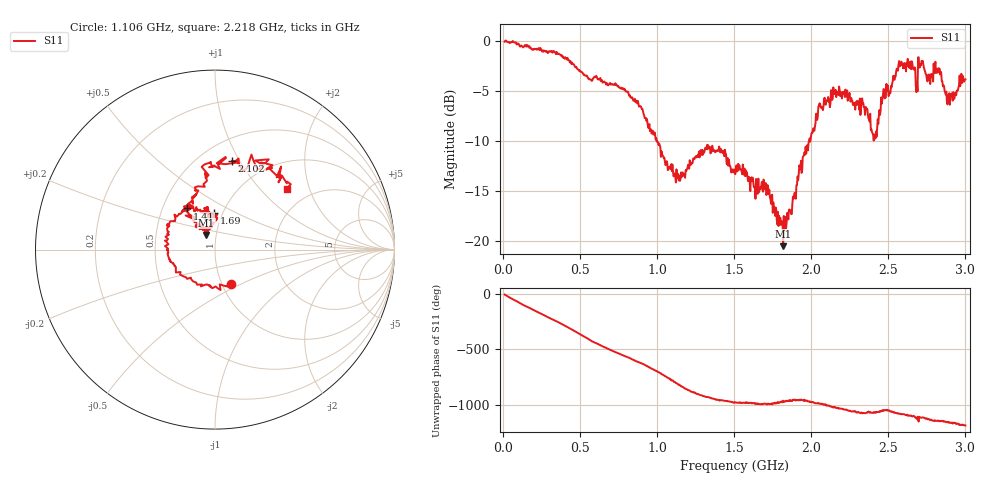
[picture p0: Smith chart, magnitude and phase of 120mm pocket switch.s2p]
! PocketVna 1.60  pocketvna.com
! Live measurements ((Reflection-S11) Linear 10000000-3000000000/800 calibrated)
# Hz S RI R 50
! Hz  ReS11  ImS11  ReS21  ImS21  ReS12  ImS12  ReS22  ImS22
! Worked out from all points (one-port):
!   800 points, 10 MHz to 3 GHz, reference 50 ohm
!   lowest |S11| = -20.6 dB at 1.817 GHz (marker M1), VSWR 1.21, Z = 44.9 + j7.32 ohm
!   |S11| at or under -10 dB: 997 MHz to 1.985 GHz (988.1 MHz wide, 66.3 % of centre); 1.992345 GHz to 1.994093 GHz (1.748 MHz wide, 0.0877 % of centre)
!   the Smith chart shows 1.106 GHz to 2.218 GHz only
!   S11 on the Smith chart (normalised r, x): 1.106 GHz: 1.10, -0.44; 1.41 GHz: 0.67, +0.33; 1.69 GHz: 0.92, +0.39; 2.102 GHz: 0.70, +0.93; 2.218 GHz: 1.52, +1.43
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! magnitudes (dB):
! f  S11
! 10 MHz  -0.1
! 511.5 MHz  -3.1
! 799.6 MHz  -5.1
! 1.009 GHz  -10.4
! 1.106 GHz  -13.6
! 1.41 GHz  -11.2
! 1.507 GHz  -13.4
! 1.69 GHz  -13.9
! 1.817 GHz  -20.6
! 2.005 GHz  -9.2
! 2.102 GHz  -5.9
! 2.218 GHz  -5.6
! 2.345 GHz  -6.7
! 2.409 GHz  -9.4
! 2.502 GHz  -5.5
! 2.581 GHz  -2.4
! 2.674 GHz  -2.8
! 2.708 GHz  -2.3
! 2.757 GHz  -4.0
! 2.817 GHz  -3.0
! 2.884 GHz  -6.4
! 3 GHz  -3.8
